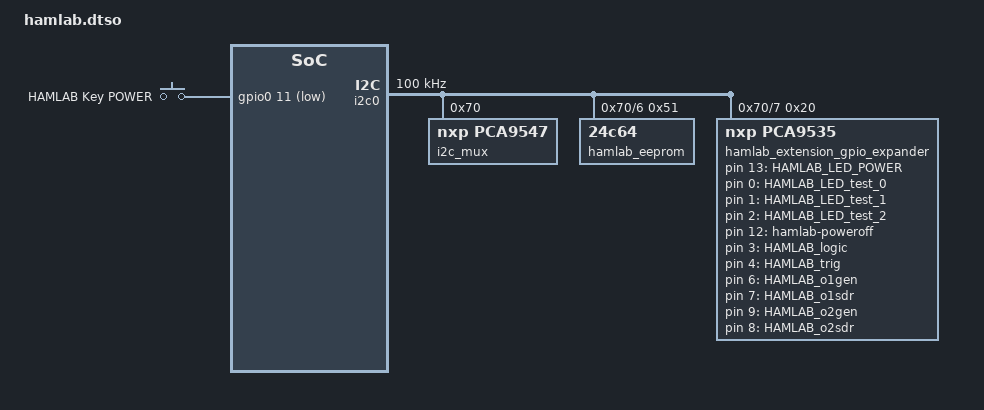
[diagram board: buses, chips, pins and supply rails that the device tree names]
/*
 * HAMLAB specific features, mostly GPIO on I2C
 *
 * pca9555 I2C GPIO extender interrupt is connected
 * to MIO[10] used as GPIO, 0x2 specifies trigger mode:
 * 1 = low-to-high edge triggered
 * 2 = high-to-low edge triggered
 * 4 = high level triggered
 * 8 = low level triggered
 *
 * http://developer.toradex.com/knowledge-base/gpio-(linux)#GPIO_power_management_keys
*/

/dts-v1/;
/plugin/;

/ {
	fragment@2 {
		target = <&i2c0>;
		__overlay__ {
			clock-frequency = <100000>;
			#address-cells = <1>;
			#size-cells = <0>;
			i2c_mux: i2c-mux@70 {
				compatible = "nxp,pca9547";
				#address-cells = <1>;
				#size-cells = <0>;
				reg = <0x70>;
				status="okay";
				hamlab_sdr: i2c@0 {
					#address-cells = <1>;
					#size-cells = <0>;
					reg = <0>;
				};
				i2c@1 {
					#address-cells = <1>;
					#size-cells = <0>;
					reg = <1>;
				};
				i2c@2 {
					#address-cells = <1>;
					#size-cells = <0>;
					reg = <2>;
				};
				i2c@3 {
					#address-cells = <1>;
					#size-cells = <0>;
					reg = <3>;
				};
				i2c@4 {
					#address-cells = <1>;
					#size-cells = <0>;
					reg = <4>;
				};
				i2c@5 {
					#address-cells = <1>;
					#size-cells = <0>;
					reg = <5>;
				};
				hamlab_rf: i2c@6 {
					#address-cells = <1>;
					#size-cells = <0>;
					reg = <6>;
				};
				hamlab_extension: i2c@7 {
					#address-cells = <1>;
					#size-cells = <0>;
					reg = <7>;
					hamlab_extension_gpio_expander: pca9535@20 {	
						compatible = "nxp,pca9535";
						reg = <0x20>;
						gpio-controller;
						#gpio-cells = <2>;
//						interrupt-parent = <&gpio0>;
//						interrupts = <11 0x2>;
//						interrupt-controller;
//						#interrupt-cells = <2>;
						pinctrl-names = "default";
						pinctrl-0 = <&pinctrl_miso2gpio>;
					};	
				};
			};
		};
	};

	fragment@3 {
		target-path = "/";
		__overlay__ {
//			// DMM data ready is mapped as UIO interrupt connected to gpio_expander [15]
//			dmm: dmm {
//				compatible = "generic-uio";
//				status = "okay";
//				interrupt-parent = <&hamlab_extension_gpio_expander>;
//				interrupts = <15 0x2>;
//			};

			// Power button on MIO[11] (MISO)
			hamlab_keys {
				compatible = "gpio-keys";
				autorepeat;
				hamlab_key_power {
					label = "HAMLAB Key POWER";
					linux,code = <116>;
//					gpios = <&hamlab_extension_gpio_expander 14 1>;
					gpios = <&gpio0 11 1>;
				};
			};
			hamlab_led {
				compatible = "gpio-leds";
				hamlab_led_power {
					label = "HAMLAB_LED_POWER";
					gpios = <&hamlab_extension_gpio_expander 13 0>;
					default-state = "on";
				};
				hamlab_led_test0 {
					label = "HAMLAB_LED_test_0";
					gpios = <&hamlab_extension_gpio_expander 0 0>;
					default-state = "off";
				};
				hamlab_led_test1 {
					label = "HAMLAB_LED_test_1";
					gpios = <&hamlab_extension_gpio_expander 1 0>;
					default-state = "off";
				};
				hamlab_led_test2 {
					label = "HAMLAB_LED_test_2";
					gpios = <&hamlab_extension_gpio_expander 2 0>;
					default-state = "off";
				};
			};
		        // Power OFF signal, extension board GPIO expander port P16 (14=8+6)
			hamlab-poweroff {
				compatible = "gpio-poweroff";
				gpios = <&hamlab_extension_gpio_expander 12 0>;
			};
		};
	};
	
	fragment@4 {
		target-path = "/";
		__overlay__ {
			hamlab_relays {
				compatible = "gpio-leds";
				hamlab_logic {
					label = "HAMLAB_logic";
					gpios = <&hamlab_extension_gpio_expander 3 0>;
					default-state = "off";
				};
				hamlab_trig {
					label = "HAMLAB_trig";
					gpios = <&hamlab_extension_gpio_expander 4 0>;
					default-state = "off";
				};
				hamlab_o1gen {
					label = "HAMLAB_o1gen";
					gpios = <&hamlab_extension_gpio_expander 6 0>;
					default-state = "off";
				};				
				hamlab_o1sdr {
					label = "HAMLAB_o1sdr";
					gpios = <&hamlab_extension_gpio_expander 7 0>;
					default-state = "off";
				};
				hamlab_o2gen {
					label = "HAMLAB_o2gen";
					gpios = <&hamlab_extension_gpio_expander 9 0>;
					default-state = "off";
				};				
				hamlab_o2sdr {
					label = "HAMLAB_o2sdr";
					gpios = <&hamlab_extension_gpio_expander 8 0>;
					default-state = "off";
				};
			};
		};
	};

	fragment@5 {
		target = <&hamlab_rf>;
		__overlay__ {
			hamlab_eeprom: eep@51 {
				compatible = "24c64";
				reg = <0x51>;
			};
		};
	};
};
